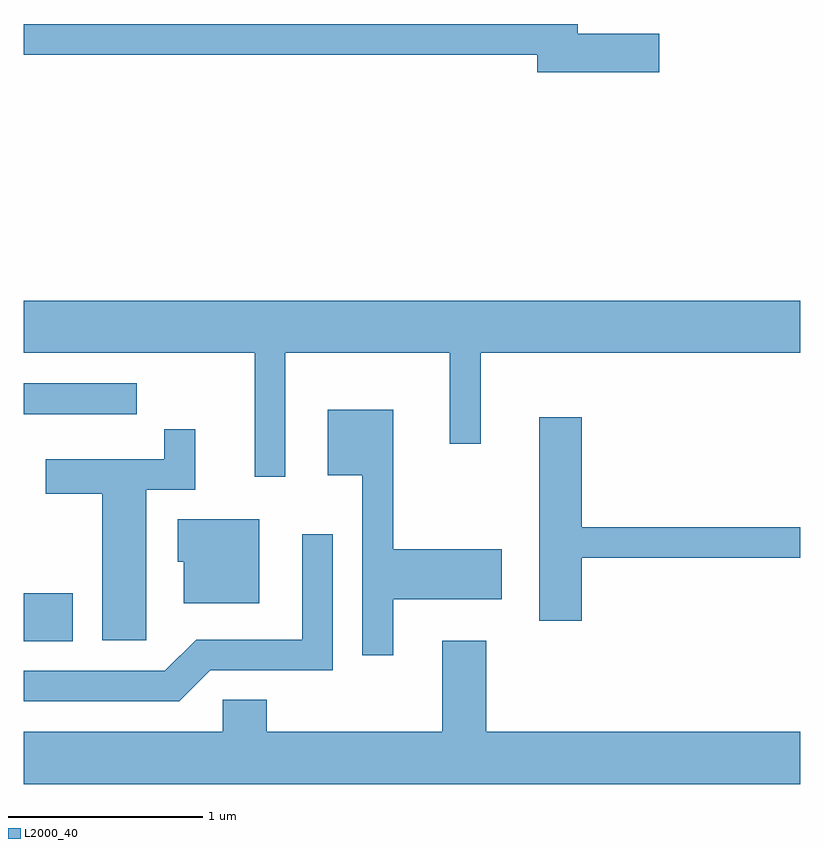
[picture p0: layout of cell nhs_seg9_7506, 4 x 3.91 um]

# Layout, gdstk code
import gdstk
lib = gdstk.Library(unit=1e-6, precision=1e-09)
def R(c, l, rs):  # rectangles x0, y0, x1, y1
    for r in rs: c.add(gdstk.rectangle(r[:2], r[2:], *l))
def P(c, l, *ps):  # polygons
    for p in ps: c.add(gdstk.Polygon(p, *l))
L2000_40 = (2000, 40)

nhs_seg9_7506 = lib.new_cell('nhs_seg9_7506')
R(nhs_seg9_7506, L2000_40, [(407.611,1999.211,407.864,1999.459), (407.611,2000.381,408.193,2000.539)])
P(nhs_seg9_7506, L2000_40, [(410.884,2002.339),(410.464,2002.339),(410.464,2002.389),(407.611,2002.389),(407.611,2002.231),(410.256,2002.231),(410.256,2002.141),(410.884,2002.141)],
  [(408.959,2000.696),(409.806,2000.696),(409.806,2000.228),(409.964,2000.228),(409.964,2000.696),(411.611,2000.696),(411.611,2000.964),(407.611,2000.964),(407.611,2000.696),(408.801,2000.696),(408.801,2000.058),(408.959,2000.058)],
  [(409.514,1999.426),(410.074,1999.426),(410.074,1999.684),(409.514,1999.684),(409.514,2000.404),(409.176,2000.404),(409.176,2000.066),(409.356,2000.066),(409.356,1999.138),(409.514,1999.138)],
  [(410.484,1999.641),(411.611,1999.641),(411.611,1999.799),(410.484,1999.799),(410.484,2000.364),(410.266,2000.364),(410.266,1999.316),(410.484,1999.316)],
  [(408.244,1999.991),(408.494,1999.991),(408.494,2000.303),(408.336,2000.303),(408.336,2000.149),(407.726,2000.149),(407.726,1999.971),(408.016,1999.971),(408.016,1999.216),(408.244,1999.216)],
  [(408.824,1999.839),(408.406,1999.839),(408.406,1999.621),(408.436,1999.621),(408.436,1999.406),(408.824,1999.406)],
  [(408.572,1999.061),(409.204,1999.061),(409.204,1999.763),(409.046,1999.763),(409.046,1999.219),(408.499,1999.219),(408.339,1999.059),(407.611,1999.059),(407.611,1998.901),(408.412,1998.901)],
  [(411.611,1998.744),(409.994,1998.744),(409.994,1999.214),(409.766,1999.214),(409.766,1998.744),(408.864,1998.744),(408.864,1998.909),(408.636,1998.909),(408.636,1998.744),(407.611,1998.744),(407.611,1998.476),(411.611,1998.476)])

lib.write_gds('nhs_seg9_7506.gds')
